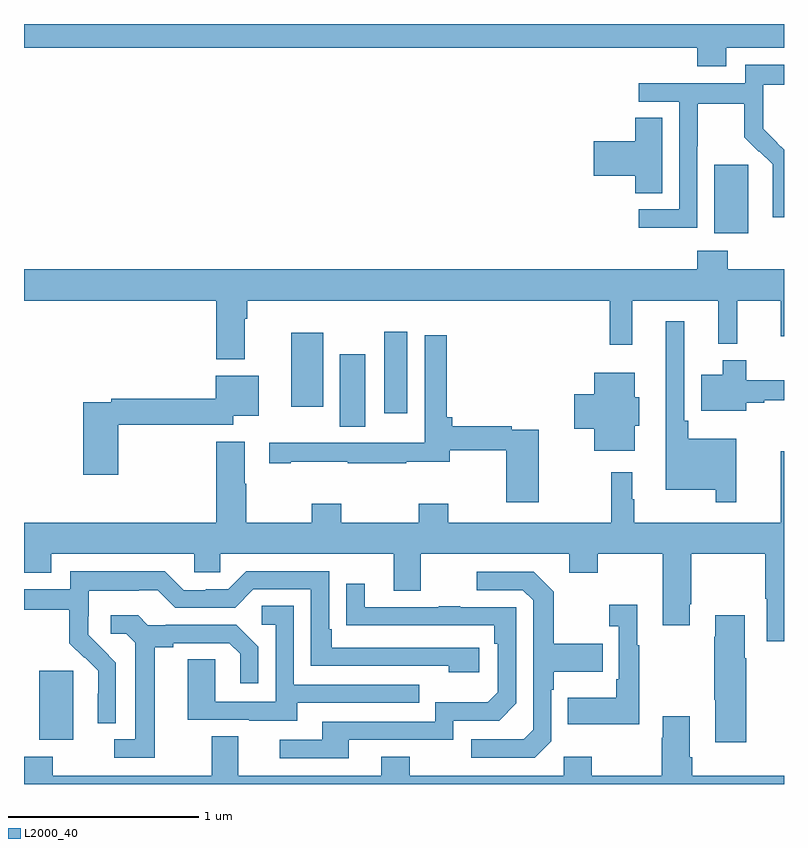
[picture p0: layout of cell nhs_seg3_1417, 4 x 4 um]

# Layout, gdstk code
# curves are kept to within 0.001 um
import gdstk
lib = gdstk.Library(unit=1e-6, precision=1e-09)
def R(c, l, rs):  # rectangles x0, y0, x1, y1
    for r in rs: c.add(gdstk.rectangle(r[:2], r[2:], *l))
def P(c, l, *ps):  # polygons
    for p in ps: c.add(gdstk.Polygon(p, *l))
L2000_40 = (2000, 40)

nhs_seg3_1417 = lib.new_cell('nhs_seg3_1417')
R(nhs_seg3_1417, L2000_40, [(185.081,670.634,185.26,670.995), (186.662,672.28,186.796,672.661), (186.896,672.351,187.018,672.781), (186.407,672.386,186.574,672.775), (188.633,673.298,188.812,673.659)])
P(nhs_seg3_1417, L2000_40, [(188.695,674.276),(189,674.276),(189,674.4),(185,674.4),(185,674.276),(188.543,674.276),(188.543,674.177),(188.695,674.177)],
  [(188.544,673.756),(188.547,673.756),(188.547,673.98),(188.791,673.98),(188.791,673.805),(188.868,673.728),(188.871,673.731),(188.942,673.661),(188.942,673.538),(188.94,673.538),(188.94,673.384),(189,673.384),(189,673.738),(188.89,673.85),(188.89,673.947),(188.892,673.947),(188.892,674.081),(189,674.081),(189,674.185),(188.796,674.185),(188.796,674.088),(188.235,674.088),(188.235,673.992),(188.448,673.992),(188.448,673.425),(188.235,673.425),(188.235,673.327),(188.544,673.327)],
  [(188.359,673.907),(188.216,673.907),(188.216,673.784),(187.998,673.784),(187.998,673.601),(188.216,673.601),(188.216,673.51),(188.359,673.51)],
  [(186.163,672.848),(186.176,672.848),(186.176,672.944),(188.083,672.944),(188.083,672.711),(188.201,672.711),(188.201,672.944),(188.654,672.944),(188.654,672.716),(188.754,672.716),(188.754,672.944),(188.984,672.944),(188.984,672.756),(189,672.756),(189,673.108),(188.703,673.108),(188.703,673.207),(188.543,673.207),(188.543,673.108),(185,673.108),(185,672.944),(186.011,672.944),(186.011,672.635),(186.163,672.635)],
  [(188.748,672.217),(188.495,672.217),(188.495,672.313),(188.475,672.313),(188.475,672.835),(188.378,672.835),(188.378,671.948),(188.64,671.948),(188.64,671.883),(188.748,671.883)],
  [(187.71,672.264),(187.568,672.264),(187.568,672.284),(187.253,672.284),(187.253,672.331),(187.226,672.331),(187.226,672.763),(187.11,672.763),(187.11,672.196),(186.9,672.196),(186.9,672.195),(186.566,672.195),(186.566,672.197),(186.291,672.197),(186.291,672.087),(186.403,672.087),(186.403,672.097),(186.703,672.097),(186.703,672.087),(187.013,672.087),(187.013,672.097),(187.24,672.097),(187.24,672.156),(187.537,672.156),(187.537,671.883),(187.71,671.883)],
  [(188.8,672.406),(188.896,672.406),(188.896,672.421),(189,672.421),(189,672.525),(188.8,672.525),(188.8,672.631),(188.678,672.631),(188.678,672.553),(188.564,672.553),(188.564,672.365),(188.8,672.365)],
  [(188.215,672.285),(188.239,672.285),(188.239,672.435),(188.215,672.435),(188.215,672.565),(188,672.565),(188,672.452),(187.895,672.452),(187.895,672.269),(188,672.269),(188,672.155),(188.215,672.155)],
  [(185.495,672.292),(186.102,672.292),(186.102,672.338),(186.235,672.338),(186.235,672.55),(186.008,672.55),(186.008,672.428),(185.458,672.428),(185.458,672.408),(185.312,672.408),(185.312,672.027),(185.495,672.027)],
  [(189,672.151),(188.984,672.151),(188.984,671.776),(188.212,671.776),(188.212,671.9),(188.2,671.9),(188.2,672.04),(188.091,672.04),(188.091,671.776),(187.233,671.776),(187.233,671.875),(187.078,671.875),(187.078,671.776),(186.669,671.776),(186.669,671.875),(186.514,671.875),(186.514,671.776),(186.171,671.776),(186.171,671.981),(186.163,671.981),(186.163,672.202),(186.011,672.202),(186.011,671.776),(185,671.776),(185,671.513),(185.143,671.513),(185.143,671.612),(185.895,671.612),(185.895,671.514),(186.033,671.514),(186.033,671.612),(186.947,671.612),(186.947,671.418),(187.087,671.418),(187.087,671.612),(187.871,671.612),(187.871,671.513),(188.019,671.513),(188.019,671.612),(188.363,671.612),(188.363,671.235),(188.503,671.235),(188.503,671.347),(188.511,671.347),(188.511,671.612),(188.902,671.612),(188.902,671.374),(188.909,671.374),(188.909,671.151),(189,671.151)],
  [(185.484,671.038),(185.338,671.186),(185.338,671.283),(185.34,671.283),(185.34,671.417),(185.603,671.417),(185.603,671.421),(185.703,671.421),(185.796,671.328),(186.111,671.328),(186.207,671.424),(186.51,671.424),(186.51,671.022),(187.235,671.022),(187.235,670.988),(187.396,670.988),(187.396,671.118),(186.619,671.118),(186.619,671.215),(186.606,671.215),(186.606,671.52),(186.171,671.52),(186.075,671.424),(185.957,671.424),(185.957,671.421),(185.841,671.421),(185.741,671.521),(185.244,671.521),(185.244,671.424),(185,671.424),(185,671.316),(185.239,671.316),(185.239,671.141),(185.316,671.064),(185.319,671.067),(185.39,670.997),(185.39,670.874),(185.388,670.874),(185.388,670.72),(185.484,670.72)],
  [(187.776,670.626),(187.776,670.895),(187.789,670.895),(187.789,670.991),(188.045,670.991),(188.045,671.139),(187.789,671.139),(187.789,671.411),(187.683,671.517),(187.383,671.517),(187.383,671.421),(187.626,671.421),(187.68,671.367),(187.68,670.686),(187.629,670.635),(187.353,670.635),(187.353,670.539),(187.689,670.539)],
  [(186.709,670.632),(187.26,670.632),(187.26,670.734),(187.5,670.734),(187.59,670.824),(187.59,671.331),(187.295,671.331),(187.295,671.336),(187.183,671.336),(187.183,671.331),(186.793,671.331),(186.793,671.455),(186.697,671.455),(186.697,671.236),(187.474,671.235),(187.474,671.138),(187.494,671.138),(187.494,670.884),(187.441,670.831),(187.164,670.831),(187.164,670.728),(186.569,670.728),(186.569,670.632),(186.345,670.632),(186.345,670.536),(186.709,670.536)],
  [(188.239,671.131),(188.227,671.131),(188.227,671.344),(188.079,671.344),(188.079,671.231),(188.13,671.231),(188.13,670.951),(188.118,670.951),(188.118,670.855),(187.861,670.855),(187.861,670.715),(188.239,670.715)],
  [(186.439,670.827),(187.079,670.827),(187.079,670.923),(186.42,670.923),(186.42,671.339),(186.252,671.339),(186.252,671.238),(186.324,671.238),(186.324,670.833),(186.006,670.833),(186.006,671.057),(185.861,671.057),(185.861,670.737),(186.185,670.737),(186.185,670.733),(186.439,670.733)],
  [(185.689,671.12),(185.785,671.12),(185.785,671.142),(186.08,671.142),(186.137,671.085),(186.137,670.929),(186.234,670.929),(186.234,671.122),(186.118,671.238),(185.746,671.238),(185.746,671.235),(185.652,671.235),(185.6,671.287),(185.457,671.287),(185.457,671.19),(185.538,671.19),(185.585,671.143),(185.585,670.635),(185.475,670.635),(185.475,670.539),(185.689,670.539)],
  [(188.802,671.063),(188.794,671.063),(188.794,671.287),(188.639,671.287),(188.639,671.174),(188.632,671.174),(188.632,670.843),(188.639,670.843),(188.639,670.62),(188.802,670.62)],
  [(189,670.444),(188.516,670.444),(188.516,670.54),(188.503,670.54),(188.503,670.756),(188.363,670.756),(188.363,670.643),(188.356,670.643),(188.356,670.444),(187.989,670.444),(187.989,670.543),(187.842,670.543),(187.842,670.444),(187.029,670.444),(187.029,670.543),(186.881,670.543),(186.881,670.444),(186.127,670.444),(186.127,670.652),(185.987,670.652),(185.987,670.444),(185.151,670.444),(185.151,670.543),(185,670.543),(185,670.4),(189,670.4)])

lib.write_gds('nhs_seg3_1417.gds')
